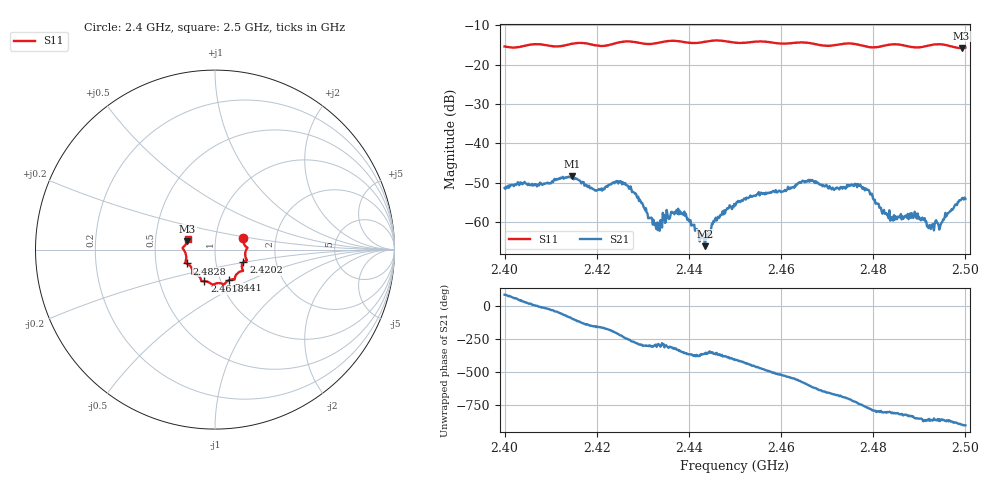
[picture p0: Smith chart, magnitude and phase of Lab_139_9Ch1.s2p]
# Hz S RI R 50
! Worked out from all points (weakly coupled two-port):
!   601 points, 2.4 GHz to 2.5 GHz, reference 50 ohm
!   highest |S21| = -48.29 dB at 2.4147 GHz (marker M1); lowest = -66.0 dB at 2.4435 GHz (marker M2)
!   lowest |S11| = -15.8 dB at 2.4992 GHz (marker M3), VSWR 1.39, Z = 36.5 + j3.66 ohm
!   |S11| at or under -10 dB: start of sweep to end of sweep
!   S12 and S22 are empty: the file has one direction only
!   S11 on the Smith chart (normalised r, x): 2.4 GHz: 1.36, +0.18; 2.4202 GHz: 1.36, -0.20; 2.441 GHz: 1.10, -0.39; 2.4618 GHz: 0.84, -0.30; 2.4828 GHz: 0.72, -0.12; 2.5 GHz: 0.73, +0.09
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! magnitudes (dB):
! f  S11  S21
! 2.4 GHz  -15.4  -51.3
! 2.4147 GHz  -14.7  -48.3
! 2.4167 GHz  -14.5  -50.1
! 2.4202 GHz  -15.2  -51.8
! 2.4262 GHz  -14.2  -50.0
! 2.4333 GHz  -14.5  -62.0
! 2.4377 GHz  -14.1  -56.6
! 2.441 GHz  -14.6  -60.7
! 2.4435 GHz  -14.2  -66.0
! 2.4458 GHz  -13.9  -58.8
! 2.45 GHz  -14.5  -55.8
! 2.4618 GHz  -14.6  -51.6
! 2.4667 GHz  -14.6  -49.3
! 2.4713 GHz  -15.2  -51.5
! 2.4772 GHz  -15.1  -50.4
! 2.4828 GHz  -15.1  -57.7
! 2.4833 GHz  -15.0  -59.0
! 2.4888 GHz  -15.6  -58.5
! 2.4922 GHz  -15.1  -60.7
! 2.4945 GHz  -14.9  -61.1
! 2.4992 GHz  -15.8  -54.1
! 2.5 GHz  -15.7  -54.0
